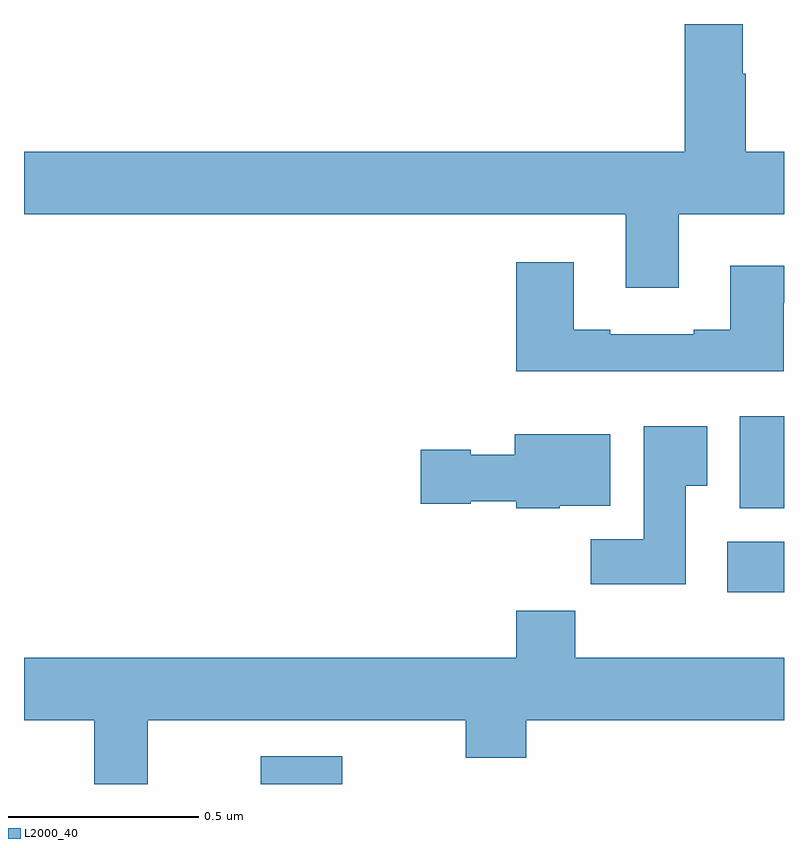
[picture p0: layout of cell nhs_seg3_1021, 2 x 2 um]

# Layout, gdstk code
import gdstk
lib = gdstk.Library(unit=1e-6, precision=1e-09)
def R(c, l, rs):  # rectangles x0, y0, x1, y1
    for r in rs: c.add(gdstk.rectangle(r[:2], r[2:], *l))
def P(c, l, *ps):  # polygons
    for p in ps: c.add(gdstk.Polygon(p, *l))
L2000_40 = (2000, 40)

nhs_seg3_1021 = lib.new_cell('nhs_seg3_1021')
R(nhs_seg3_1021, L2000_40, [(123.623,715.4,123.838,715.473), (124.851,715.904,125,716.038), (124.883,716.126,125,716.368)])
P(nhs_seg3_1021, L2000_40, [(124.723,716.9),(125,716.9),(125,717.064),(124.899,717.064),(124.899,717.269),(124.891,717.269),(124.891,717.4),(124.739,717.4),(124.739,717.064),(123,717.064),(123,716.9),(124.583,716.9),(124.583,716.706),(124.723,716.706)],
  [(124.999,716.667),(125,716.667),(125,716.764),(124.859,716.764),(124.859,716.596),(124.763,716.596),(124.763,716.583),(124.543,716.583),(124.543,716.596),(124.447,716.596),(124.447,716.773),(124.295,716.773),(124.295,716.486),(124.999,716.486)],
  [(124.741,716.185),(124.798,716.185),(124.798,716.341),(124.631,716.341),(124.631,716.044),(124.492,716.044),(124.492,715.926),(124.741,715.926)],
  [(124.41,716.132),(124.543,716.132),(124.543,716.32),(124.292,716.32),(124.292,716.266),(124.176,716.266),(124.176,716.279),(124.044,716.279),(124.044,716.137),(124.176,716.137),(124.176,716.144),(124.296,716.144),(124.296,716.126),(124.41,716.126)],
  [(123.325,715.568),(124.162,715.568),(124.162,715.469),(124.322,715.469),(124.322,715.568),(125,715.568),(125,715.732),(124.451,715.732),(124.451,715.856),(124.295,715.856),(124.295,715.732),(123,715.732),(123,715.568),(123.185,715.568),(123.185,715.4),(123.325,715.4)])

lib.write_gds('nhs_seg3_1021.gds')
